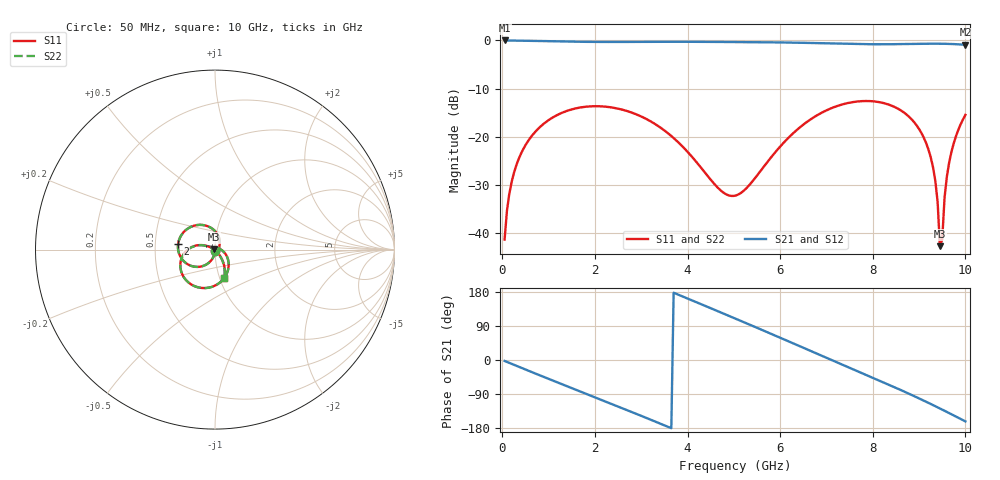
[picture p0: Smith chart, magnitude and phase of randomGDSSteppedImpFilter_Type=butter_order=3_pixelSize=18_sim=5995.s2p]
! freq	dB(S11)	phase(S11)	dB(S12)	phase(S12)
!  dB(S21)	phase(S21)	dB(S22)	phase(S22)
!S-par simulation data
#  GHz  S  DB  R 50
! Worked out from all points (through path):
!   200 points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, 50 MHz to 10 GHz, reference 50 ohm
!   highest |S21| = -0.01 dB at 50 MHz (marker M1); lowest = -0.9 dB at 10 GHz (marker M2)
!   group delay of S21, straight-line fit = 143 ps
!   lowest |S11| = -42.7 dB at 9.45 GHz (marker M3), VSWR 1.01, Z = 49.3 + j0.123 ohm
!   |S11| at or under -10 dB: start of sweep to end of sweep
!   |S22| runs from -41.9 to -12.6 dB; largest |S21 - S12| = 0
!   S11 on the Smith chart (normalised r, x): 50 MHz: 1.00, -0.02; 2 GHz: 0.66, +0.05; 10 GHz: 1.05, -0.35
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0.05  -41.31 -91.5  -0.01 -2.6  -0.01 -2.6  -41.31 -91.5
0.2  -29.44 -99.9  -0.02 -10.1  -0.02 -10.1  -29.44 -99.9
0.5  -21.74 -115.5  -0.06 -25.1  -0.06 -25.1  -21.74 -115.5
1.15  -15.65 -147.7  -0.19 -57.1  -0.19 -57.1  -15.65 -147.7
1.75  -13.82 -177.0  -0.29 -86.3  -0.29 -86.3  -13.82 -177.1
2  -13.65 170.8  -0.31 -98.4  -0.31 -98.4  -13.65 170.8
2.65  -14.52 139.2  -0.32 -130.0  -0.32 -130.0  -14.52 139.2
3.4  -17.98 101.9  -0.28 -167.3  -0.28 -167.3  -17.98 101.9
4.15  -24.75 63.5  -0.28 154.6  -0.28 154.6  -24.75 63.4
5.05  -32.15 15.7  -0.34 108.4  -0.34 108.4  -32.16 15.7
5.85  -23.71 -23.7  -0.40 66.7  -0.40 66.7  -23.72 -23.6
6.7  -16.11 -67.4  -0.54 21.8  -0.54 21.8  -16.11 -67.3
7.5  -12.91 -109.1  -0.73 -20.4  -0.73 -20.4  -12.91 -109.0
8.35  -13.33 -153.6  -0.79 -65.4  -0.79 -65.4  -13.33 -153.4
9.2  -22.56 160.3  -0.68 -113.0  -0.68 -113.0  -22.55 161.2
9.35  -29.09 154.0  -0.68 -121.9  -0.68 -121.9  -29.05 156.0
9.4  -33.47 154.3  -0.68 -124.9  -0.68 -124.9  -33.37 157.6
9.45  -42.69 170.2  -0.68 -127.9  -0.68 -127.9  -41.92 178.2
9.5  -41.26 -60.6  -0.69 -130.9  -0.69 -130.9  -40.78 -68.5
9.55  -32.62 -50.2  -0.70 -134.0  -0.70 -134.0  -32.57 -53.4
9.65  -25.30 -52.2  -0.72 -140.1  -0.72 -140.1  -25.29 -53.6
10  -15.46 -72.2  -0.91 -162.0  -0.91 -162.0  -15.46 -72.6
